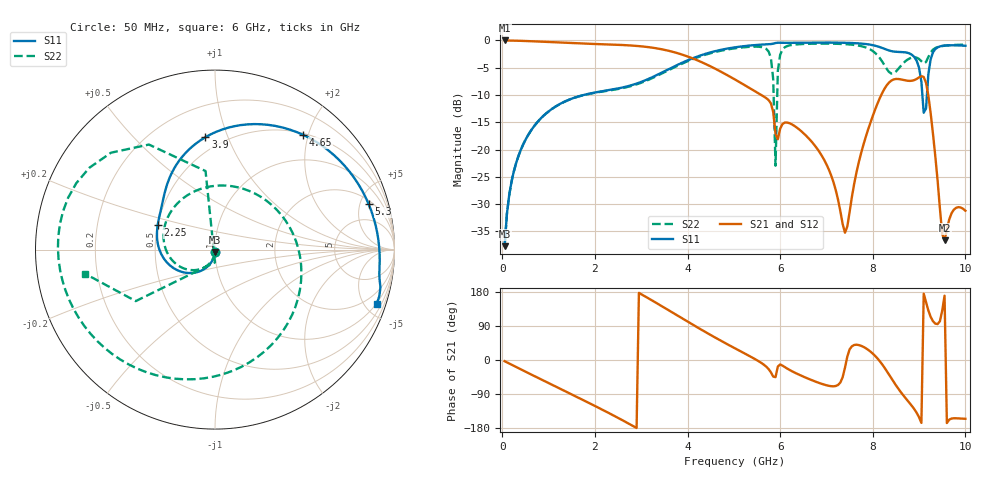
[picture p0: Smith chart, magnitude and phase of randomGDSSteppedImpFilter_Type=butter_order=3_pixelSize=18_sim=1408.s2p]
! freq	dB(S11)	phase(S11)	dB(S12)	phase(S12)
!  dB(S21)	phase(S21)	dB(S22)	phase(S22)
!S-par simulation data
#  GHz  S  DB  R 50
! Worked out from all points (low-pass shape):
!   200 points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, 50 MHz to 10 GHz, reference 50 ohm
!   highest |S21| = -0.02 dB at 50 MHz (marker M1); lowest = -36.6 dB at 9.55 GHz (marker M2)
!   |S21| within 3 dB of the highest: start of sweep to 4.023 GHz
!   lowest |S11| = -37.7 dB at 50 MHz (marker M3), VSWR 1.03, Z = 50 - j1.31 ohm
!   |S11| at or under -10 dB: start of sweep to 1.758 GHz; 9.071 GHz to 9.17 GHz (98.58 MHz wide, 1.08 % of centre)
!   |S22| runs from -37.7 to -0.6 dB; largest |S21 - S12| = 0
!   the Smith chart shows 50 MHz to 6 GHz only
!   S11 on the Smith chart (normalised r, x): 50 MHz: 1.00, -0.03; 2.25 GHz: 0.50, +0.16; 3.9 GHz: 0.40, +0.83; 4.65 GHz: 0.52, +1.92; 5.3 GHz: 2.41, +6.00; 6 GHz: 0.96, -6.00
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0.05  -37.68 -87.6  -0.02 -3.1  -0.02 -3.1  -37.69 -88.0
0.5  -18.22 -118.7  -0.11 -30.7  -0.11 -30.7  -18.23 -123.0
1.75  -10.02 176.8  -0.59 -105.9  -0.59 -105.9  -10.05 149.9
2.25  -9.18 156.8  -0.73 -136.7  -0.73 -136.7  -9.25 108.4
3.4  -6.09 118.5  -1.56 145.3  -1.56 145.3  -6.26 -9.7
3.9  -4.03 94.9  -2.65 108.7  -2.65 108.7  -4.19 -59.3
4.65  -1.87 52.5  -5.42 55.6  -5.42 55.6  -2.03 -123.1
5.05  -1.24 29.9  -7.29 29.1  -7.29 29.1  -1.42 -153.4
5.3  -0.98 16.4  -8.53 12.9  -8.53 12.9  -1.20 -172.4
5.8  -0.68 -8.3  -11.54 -32.4  -11.54 -32.4  -3.21 122.2
5.9  -0.49 -12.8  -17.18 -45.2  -17.18 -45.2  -22.96 -89.9
5.95  -0.43 -15.8  -18.11 -17.2  -18.11 -17.2  -5.57 -147.0
6  -0.44 -18.5  -16.18 -11.8  -16.18 -11.8  -2.65 -169.5
6.7  -0.40 -49.5  -18.75 -54.0  -18.75 -54.0  -0.61 113.6
7.4  -0.45 -78.0  -35.23 -20.1  -35.23 -20.1  -0.69 60.2
7.85  -0.67 -96.8  -17.64 31.0  -17.64 31.0  -1.30 11.7
8.35  -1.85 -116.2  -7.73 -38.3  -7.73 -38.3  -5.79 -121.8
8.7  -2.19 -128.1  -7.33 -99.5  -7.33 -99.5  -3.85 108.2
9  -5.04 -155.5  -6.78 -151.2  -6.78 -151.2  -3.41 59.1
9.15  -12.48 -85.8  -7.78 152.5  -7.78 152.5  -3.96 57.3
9.55  -0.95 -129.9  -36.63 169.7  -36.63 169.7  -0.98 23.5
10  -0.99 -158.0  -31.20 -155.1  -31.20 -155.1  -0.78 -4.9
